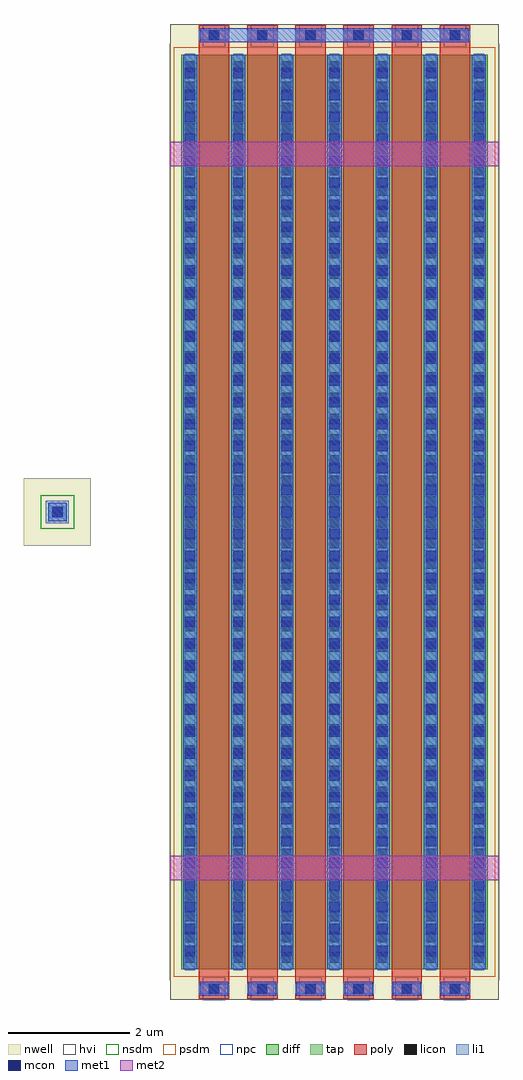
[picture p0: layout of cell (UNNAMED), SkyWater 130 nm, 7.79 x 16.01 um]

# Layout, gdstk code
import gdstk
lib = gdstk.Library(unit=1e-6, precision=1e-09)
def R(c, l, rs):  # rectangles x0, y0, x1, y1
    for r in rs: c.add(gdstk.rectangle(r[:2], r[2:], *l))
def A(c, l, x, y, w, h, nx, ny, dx, dy):  # array of equal rectangles
    R(c, l, [(x+i*dx, y+j*dy, x+i*dx+w, y+j*dy+h) for i in range(nx) for j in range(ny)])
nwell = (64, 20)
diff = (65, 20)
tap = (65, 44)
poly = (66, 20)
licon = (66, 44)
li1 = (67, 20)
mcon = (67, 44)
met1 = (68, 20)
met2 = (69, 20)
hvi = (75, 20)
nsdm = (93, 44)
psdm = (94, 20)
npc = (95, 20)

c__unnamed_ = lib.new_cell('(UNNAMED)')
R(c__unnamed_, nwell, [(0,0,5.39,16)])
R(c__unnamed_, diff, [(0.18,0.5,5.21,15.5)])
A(c__unnamed_, poly, 0.47, 0.015, 0.5, 15.97, 6, 1, 0.79, 0)
A(c__unnamed_, licon, 0.635, 0.095, 0.17, 0.17, 6, 2, 0.79, 15.64)
A(c__unnamed_, licon, 0.24, 0.605, 0.17, 0.17, 7, 44, 0.79, 0.34)
R(c__unnamed_, licon, [(-1.935,7.915,-1.765,8.085)])
A(c__unnamed_, li1, 0.47, 0.095, 0.5, 0.17, 6, 2, 0.79, 15.64)
A(c__unnamed_, li1, 0.24, 0.48, 0.17, 15.04, 7, 1, 0.79, 0)
A(c__unnamed_, mcon, 0.635, 0.095, 0.17, 0.17, 6, 2, 0.79, 15.64)
A(c__unnamed_, mcon, 0.24, 0.715, 0.17, 0.17, 7, 41, 0.79, 0.36)
R(c__unnamed_, mcon, [(-1.935,7.915,-1.765,8.085)])
A(c__unnamed_, met1, 0.49, 0.065, 0.46, 0.23, 6, 1, 0.79, 0)
A(c__unnamed_, met1, 0.21, 0.5, 0.23, 15, 7, 1, 0.79, 0)
A(c__unnamed_, met1, 1.28, 15.705, 0.46, 0.23, 5, 1, 0.79, 0)
R(c__unnamed_, met1, [(0.49,15.705,4.465,15.935)])
R(c__unnamed_, hvi, [(0,0,5.39,0.315), (-0.005,0.315,5.395,15.685), (0,15.685,5.39,16)])
R(c__unnamed_, psdm, [(0.055,0.375,5.335,15.625)])
A(c__unnamed_, npc, 0.535, -0.005, 0.37, 0.37, 6, 2, 0.79, 15.64)
c__unnamed_.add(gdstk.FlexPath([(-2.4,8),(-1.3,8)], 1.1, ends="flush", simple_path=True, layer=64, datatype=20))  # nwell
c__unnamed_.add(gdstk.FlexPath([(-2.038,8),(-1.663,8)], 0.375, ends="flush", simple_path=True, layer=67, datatype=20))  # li1
c__unnamed_.add(gdstk.FlexPath([(4.99,13.874),(5.14,13.874)], 0.15, ends="flush", simple_path=True, layer=68, datatype=20))  # met1
c__unnamed_.add(gdstk.FlexPath([(-2,8),(-1.7,8)], 0.3, ends="flush", simple_path=True, layer=68, datatype=20))  # met1
c__unnamed_.add(gdstk.FlexPath([(3.41,13.874),(3.56,13.874)], 0.15, ends="flush", simple_path=True, layer=68, datatype=20))  # met1
c__unnamed_.add(gdstk.FlexPath([(4.2,2.162),(4.35,2.162)], 0.15, ends="flush", simple_path=True, layer=68, datatype=20))  # met1
c__unnamed_.add(gdstk.FlexPath([(1.83,13.874),(1.98,13.874)], 0.15, ends="flush", simple_path=True, layer=68, datatype=20))  # met1
c__unnamed_.add(gdstk.FlexPath([(2.62,2.162),(2.77,2.162)], 0.15, ends="flush", simple_path=True, layer=68, datatype=20))  # met1
c__unnamed_.add(gdstk.FlexPath([(0.25,13.874),(0.4,13.874)], 0.15, ends="flush", simple_path=True, layer=68, datatype=20))  # met1
c__unnamed_.add(gdstk.FlexPath([(1.04,2.162),(1.19,2.162)], 0.15, ends="flush", simple_path=True, layer=68, datatype=20))  # met1
c__unnamed_.add(gdstk.FlexPath([(0.25,13.874),(0.4,13.874)], 0.15, ends="flush", simple_path=True, layer=68, datatype=20))  # met1
c__unnamed_.add(gdstk.FlexPath([(1.04,2.162),(1.19,2.162)], 0.15, ends="flush", simple_path=True, layer=68, datatype=20))  # met1
c__unnamed_.add(gdstk.FlexPath([(1.83,13.874),(1.98,13.874)], 0.15, ends="flush", simple_path=True, layer=68, datatype=20))  # met1
c__unnamed_.add(gdstk.FlexPath([(2.62,2.162),(2.77,2.162)], 0.15, ends="flush", simple_path=True, layer=68, datatype=20))  # met1
c__unnamed_.add(gdstk.FlexPath([(3.41,13.874),(3.56,13.874)], 0.15, ends="flush", simple_path=True, layer=68, datatype=20))  # met1
c__unnamed_.add(gdstk.FlexPath([(4.2,2.162),(4.35,2.162)], 0.15, ends="flush", simple_path=True, layer=68, datatype=20))  # met1
c__unnamed_.add(gdstk.FlexPath([(4.99,13.874),(5.14,13.874)], 0.15, ends="flush", simple_path=True, layer=68, datatype=20))  # met1
c__unnamed_.add(gdstk.FlexPath([(5.19,2.162),(0.2,2.162)], 0.4, ends="extended", simple_path=True, layer=69, datatype=20))  # met2
c__unnamed_.add(gdstk.FlexPath([(4.99,13.874),(5.14,13.874)], 0.15, ends="flush", simple_path=True, layer=69, datatype=20))  # met2
c__unnamed_.add(gdstk.FlexPath([(3.41,13.874),(3.56,13.874)], 0.15, ends="flush", simple_path=True, layer=69, datatype=20))  # met2
c__unnamed_.add(gdstk.FlexPath([(4.2,2.162),(4.35,2.162)], 0.15, ends="flush", simple_path=True, layer=69, datatype=20))  # met2
c__unnamed_.add(gdstk.FlexPath([(1.83,13.874),(1.98,13.874)], 0.15, ends="flush", simple_path=True, layer=69, datatype=20))  # met2
c__unnamed_.add(gdstk.FlexPath([(2.62,2.162),(2.77,2.162)], 0.15, ends="flush", simple_path=True, layer=69, datatype=20))  # met2
c__unnamed_.add(gdstk.FlexPath([(0.25,13.874),(0.4,13.874)], 0.15, ends="flush", simple_path=True, layer=69, datatype=20))  # met2
c__unnamed_.add(gdstk.FlexPath([(1.04,2.162),(1.19,2.162)], 0.15, ends="flush", simple_path=True, layer=69, datatype=20))  # met2
c__unnamed_.add(gdstk.FlexPath([(5.19,13.874),(0.2,13.874)], 0.4, ends="extended", simple_path=True, layer=69, datatype=20))  # met2
c__unnamed_.add(gdstk.FlexPath([(1.04,2.162),(1.19,2.162)], 0.15, ends="flush", simple_path=True, layer=69, datatype=20))  # met2
c__unnamed_.add(gdstk.FlexPath([(0.25,13.874),(0.4,13.874)], 0.15, ends="flush", simple_path=True, layer=69, datatype=20))  # met2
c__unnamed_.add(gdstk.FlexPath([(2.62,2.162),(2.77,2.162)], 0.15, ends="flush", simple_path=True, layer=69, datatype=20))  # met2
c__unnamed_.add(gdstk.FlexPath([(1.83,13.874),(1.98,13.874)], 0.15, ends="flush", simple_path=True, layer=69, datatype=20))  # met2
c__unnamed_.add(gdstk.FlexPath([(4.2,2.162),(4.35,2.162)], 0.15, ends="flush", simple_path=True, layer=69, datatype=20))  # met2
c__unnamed_.add(gdstk.FlexPath([(3.41,13.874),(3.56,13.874)], 0.15, ends="flush", simple_path=True, layer=69, datatype=20))  # met2
c__unnamed_.add(gdstk.FlexPath([(4.99,13.874),(5.14,13.874)], 0.15, ends="flush", simple_path=True, layer=69, datatype=20))  # met2
c__unnamed_.add(gdstk.FlexPath([(-2,8),(-1.7,8)], 0.3, ends="flush", simple_path=True, layer=65, datatype=44))  # tap
c__unnamed_.add(gdstk.FlexPath([(-2.125,8),(-1.575,8)], 0.55, ends="flush", simple_path=True, layer=93, datatype=44))  # nsdm

lib.write_gds('_UNNAMED_.gds')
